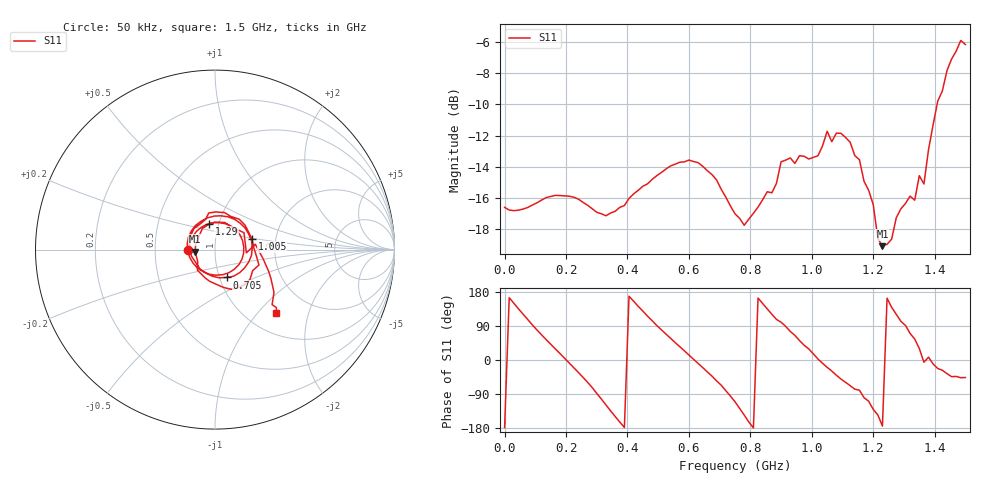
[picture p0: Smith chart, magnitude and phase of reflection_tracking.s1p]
! Created with skrf 1.8.0 (http://scikit-rf.org).
# Hz S RI R 50.0
!freq ReS11 ImS11
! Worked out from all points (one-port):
!   101 points, 50 kHz to 1.5 GHz, reference 50 ohm
!   lowest |S11| = -19.1 dB at 1.23 GHz (marker M1), VSWR 1.25, Z = 40 - j0.877 ohm
!   |S11| at or under -10 dB: start of sweep to 1.408 GHz
!   S11 on the Smith chart (normalised r, x): 50 kHz: 0.74, -0.01; 705 MHz: 1.09, -0.35; 1.005 GHz: 1.50, +0.19; 1.29 GHz: 0.90, +0.26; 1.5 GHz: 1.35, -1.27
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50000  -0.1478 -0.0035
9.0047e7  -0.00754 0.1502
1.950435e8  0.1604 0.0133
2.850405e8  0.0439 -0.1397
3.750375e8  -0.1421 -0.041
4.20036e8  -0.1481 0.0688
4.80034e8  -0.0436 0.1764
5.70031e8  0.1685 0.1193
6.30029e8  0.2033 -0.032
7.050265e8  0.0678 -0.1549
7.50025e8  -0.0486 -0.1324
7.80024e8  -0.1064 -0.074
8.40022e8  -0.1342 0.0805
9.0002e8  -0.0349 0.2042
9.450185e8  0.0867 0.1853
1.005016e9  0.2055 0.0596
1.050015e9  0.2449 -0.0858
1.125012e9  0.0907 -0.2213
1.18501e9  -0.0536 -0.1592
1.230009e9  -0.1105 -0.0108
1.290007e9  -0.0308 0.143
1.320006e9  0.0547 0.1511
1.350005e9  0.1614 0.0942
1.365004e9  0.1748 -0.0181
1.380004e9  0.2246 0.0297
1.410003e9  0.2997 -0.1234
1.455002e9  0.3182 -0.3069
1.5e9  0.3406 -0.3553
